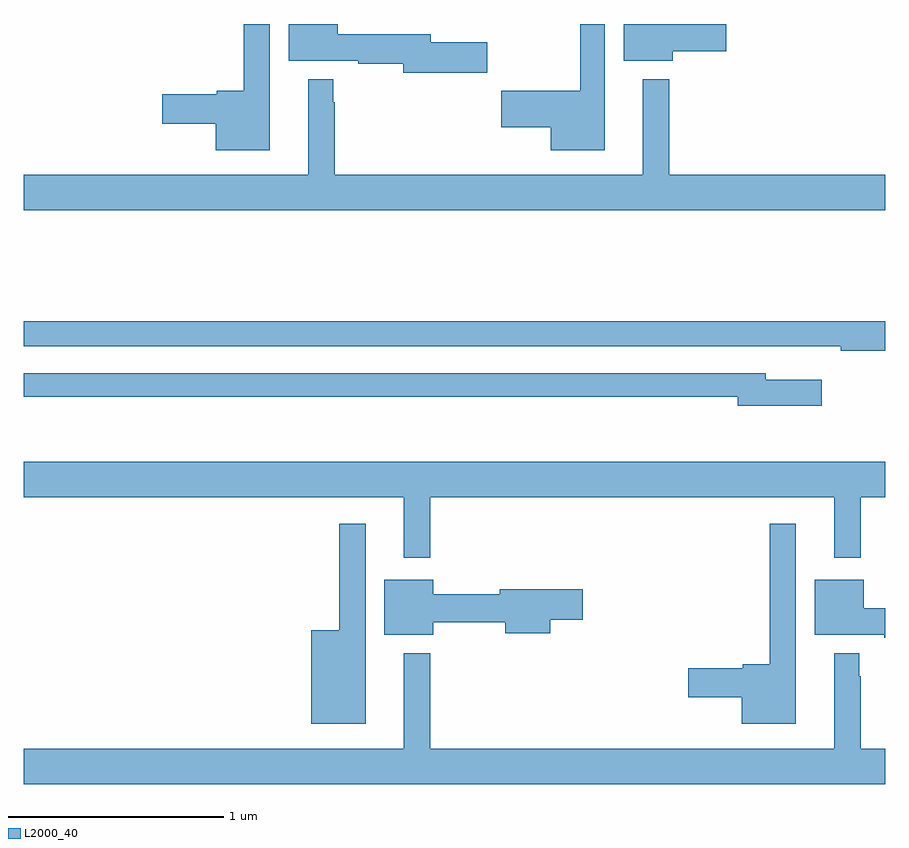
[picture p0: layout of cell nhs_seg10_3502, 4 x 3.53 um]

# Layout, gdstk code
import gdstk
lib = gdstk.Library(unit=1e-6, precision=1e-09)
def P(c, l, *ps):  # polygons
    for p in ps: c.add(gdstk.Polygon(p, *l))
L2000_40 = (2000, 40)

nhs_seg10_3502 = lib.new_cell('nhs_seg10_3502')
P(nhs_seg10_3502, L2000_40, [(302.143,1314.5),(302.022,1314.5),(302.022,1314.191),(301.896,1314.191),(301.896,1314.173),(301.644,1314.173),(301.644,1314.038),(301.892,1314.038),(301.892,1313.915),(302.143,1313.915)],
  [(304.012,1314.374),(304.261,1314.374),(304.261,1314.5),(303.785,1314.5),(303.785,1314.329),(304.012,1314.329)],
  [(303.151,1314.416),(302.89,1314.416),(302.89,1314.452),(302.458,1314.452),(302.458,1314.5),(302.231,1314.5),(302.231,1314.329),(302.554,1314.329),(302.554,1314.316),(302.762,1314.316),(302.762,1314.274),(303.151,1314.274)],
  [(303.697,1314.5),(303.583,1314.5),(303.583,1314.191),(303.216,1314.191),(303.216,1314.02),(303.446,1314.02),(303.446,1313.915),(303.697,1313.915)],
  [(305,1313.8),(303.997,1313.8),(303.997,1314.244),(303.875,1314.244),(303.875,1313.8),(302.443,1313.8),(302.443,1314.137),(302.436,1314.137),(302.436,1314.244),(302.321,1314.244),(302.321,1313.8),(301,1313.8),(301,1313.636),(305,1313.636)],
  [(305,1313.12),(301,1313.12),(301,1313.004),(304.54,1313.004),(304.54,1313.003),(304.792,1313.003),(304.792,1312.984),(305,1312.984)],
  [(304.705,1312.849),(304.444,1312.849),(304.444,1312.878),(301,1312.878),(301,1312.77),(304.316,1312.77),(304.316,1312.727),(304.705,1312.727)],
  [(302.887,1312.304),(304.763,1312.304),(304.763,1312.023),(304.885,1312.023),(304.885,1312.304),(305,1312.304),(305,1312.468),(301,1312.468),(301,1312.304),(302.765,1312.304),(302.765,1312.023),(302.887,1312.023)],
  [(302.587,1312.18),(302.466,1312.18),(302.466,1311.685),(302.336,1311.685),(302.336,1311.251),(302.587,1311.251)],
  [(304.585,1312.18),(304.464,1312.18),(304.464,1311.527),(304.338,1311.527),(304.338,1311.509),(304.086,1311.509),(304.086,1311.374),(304.334,1311.374),(304.334,1311.251),(304.585,1311.251)],
  [(305,1311.788),(304.9,1311.788),(304.9,1311.919),(304.673,1311.919),(304.673,1311.665),(304.996,1311.665),(304.996,1311.652),(305,1311.652)],
  [(302.902,1311.724),(303.236,1311.724),(303.236,1311.671),(303.445,1311.671),(303.445,1311.734),(303.595,1311.734),(303.595,1311.876),(303.21,1311.876),(303.21,1311.853),(302.902,1311.853),(302.902,1311.919),(302.675,1311.919),(302.675,1311.665),(302.902,1311.665)],
  [(305,1311.136),(304.885,1311.136),(304.885,1311.473),(304.878,1311.473),(304.878,1311.58),(304.763,1311.58),(304.763,1311.136),(302.887,1311.136),(302.887,1311.58),(302.765,1311.58),(302.765,1311.136),(301,1311.136),(301,1310.972),(305,1310.972)])

lib.write_gds('nhs_seg10_3502.gds')
